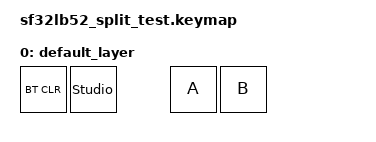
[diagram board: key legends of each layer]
#define ZMK_BEHAVIORS_KEEP_ALL

#include <behaviors.dtsi>
#include <dt-bindings/zmk/keys.h>
#include <dt-bindings/zmk/bt.h>

/ {
	keymap {
		compatible = "zmk,keymap";

		default_layer {
			bindings = <
				&bt BT_CLR  &studio_unlock  &kp A  &kp B
			>;
		};

		extra1 {
			status = "reserved";
		};

		extra2 {
			status = "reserved";
		};
	};
};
